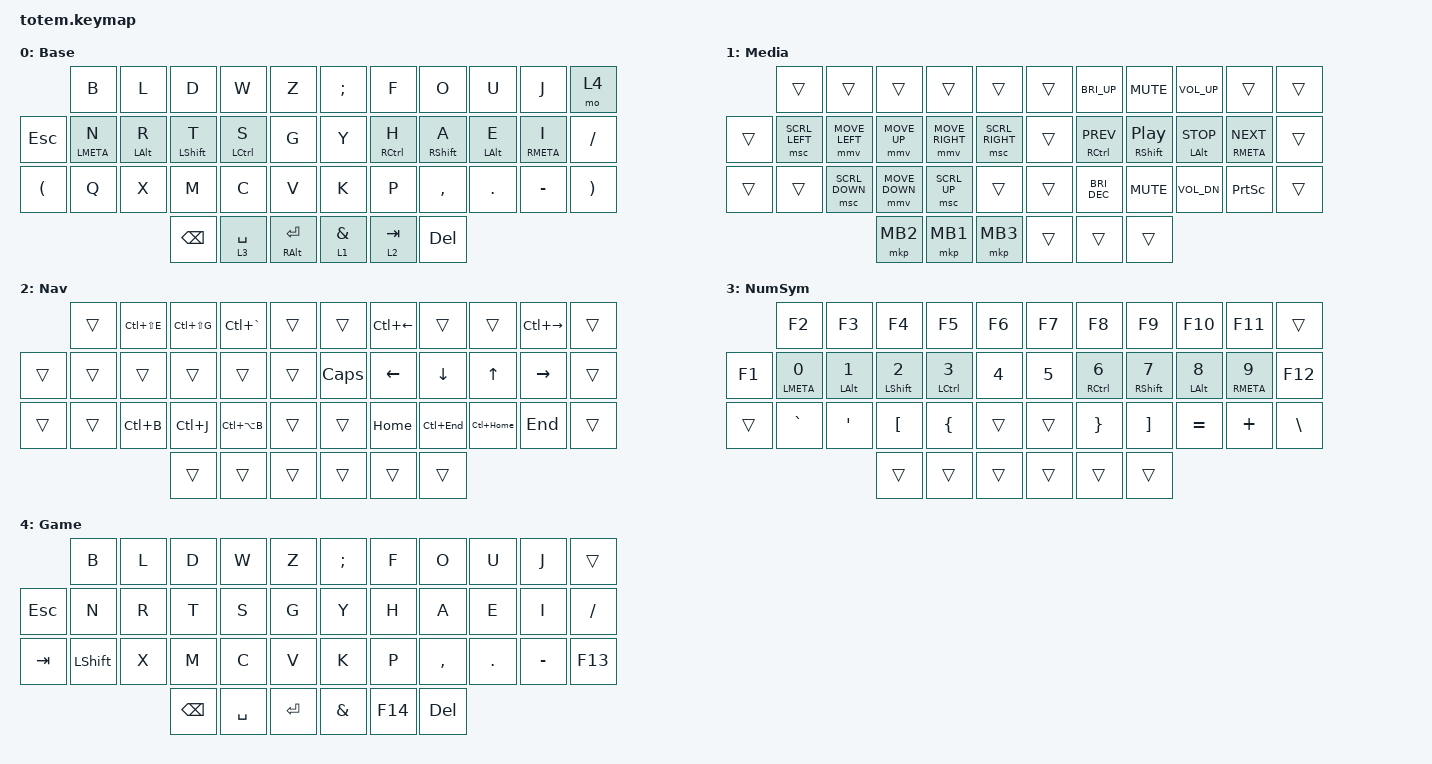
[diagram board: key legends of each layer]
//
//                                                        ▀▀▀▀▀     ▀▀▀▀▀          ▀▀█▀▀
//                                                        ▄▀▀▀▄  ▄  ▄▀▀▀▄  ▄  ▄▀▀▀▄  █  ▄▀▀▀▄
//                                                        █   █  █  █   █  █  █   █  █  █   █
//                                                         ▀▀▀   █   ▀▀▀   █   ▀▀▀   ▀   ▀▀▀
//                                                               █      ▄▄▄█▄▄▄    █   █
//                                                               ▀      █  █  █     █▄█
//                                                             ▀▀▀▀▀    █  █  █      ▀
//                                                                      ▀  ▀  ▀
//
// ▄▄▄▄▄▄▄▄▄▄▄▄▄▄▄▄▄▄▄▄▄▄▄▄▄▄▄▄▄▄▄▄▄▄▄▄▄▄▄▄▄▄▄▄▄▄▄▄▄▄▄▄▄▄▄▄▄▄▄▄▄▄▄▄▄▄▄▄▄▄▄▄▄▄▄▄▄▄▄▄▄▄▄▄▄▄▄▄▄▄▄▄▄▄▄▄▄▄▄▄▄▄▄▄▄▄▄▄▄▄▄▄▄▄▄▄▄▄▄▄▄▄▄▄▄▄▄▄▄▄▄▄▄▄▄▄▄▄▄▄▄▄▄▄▄▄▄▄▄
//
// This keymap is meant to be used with the EurKEY layout.

#include <dt-bindings/zmk/mouse.h>
#include <behaviors.dtsi>
#include <dt-bindings/zmk/keys.h>
#include <dt-bindings/zmk/pointing.h>

#define Base        0
#define Media       1
#define Nav         2
#define NumSym      3
#define Game        4

&mt {
    quick-tap-ms = <100>;
    global-quick-tap;
    flavor = "tap-preferred";
    tapping-term-ms = <170>;
};

&lt {
    tapping-term-ms = <240>;
    flavor = "balanced";
    quick-tap-ms = <150>;
};

/ {
    behaviors {
        hm: homerow_mods {
            compatible = "zmk,behavior-hold-tap";
            label = "HOMEROW_MODS";
            #binding-cells = <2>;
            flavor = "balanced";
            tapping-term-ms = <150>;
            global-quick-tap;
            bindings = <&kp>, <&kp>;
        };

        f1s: f1or11 {
            compatible = "zmk,behavior-mod-morph";
            label = "F1OR11";
            bindings = <&kp F1>, <&kp F11>;

            #binding-cells = <0>;
            mods = <(MOD_LSFT|MOD_RSFT)>;
        };

        f2s: f2_or_f12 {
            compatible = "zmk,behavior-mod-morph";
            label = "F2_OR_F12";
            bindings = <&kp F2>, <&kp F12>;

            #binding-cells = <0>;
            mods = <(MOD_LSFT|MOD_RSFT)>;
        };

        sqns: single_quote_no_shift {
            compatible = "zmk,behavior-mod-morph";
            label = "SINGLE_QUOTE_NO_SHIFT";
            bindings = <&kp SQT>, <&kp SQT>;

            #binding-cells = <0>;
            mods = <(MOD_LSFT|MOD_RSFT)>;
        };

        dqns: double_quote_no_shift {
            compatible = "zmk,behavior-mod-morph";
            label = "DOUBLE_QUOTE_NO_SHIFT";
            bindings = <&kp DQT>, <&kp DQT>;

            #binding-cells = <0>;
            mods = <(MOD_LSFT|MOD_RSFT)>;
        };

        eqns: equal_no_shift {
            compatible = "zmk,behavior-mod-morph";
            label = "EQUAL_NO_SHIFT";
            bindings = <&kp EQUAL>, <&kp EQUAL>;

            #binding-cells = <0>;
            mods = <(MOD_LSFT|MOD_RSFT)>;
        };

        df: double_function {
            compatible = "zmk,behavior-hold-tap";
            label = "DOUBLE_FUNCTION";
            bindings = <&kp>, <&kp>;

            #binding-cells = <2>;
            tapping-term-ms = <150>;
        };
    };

    combos {
        compatible = "zmk,combos";

        combo_capsword {
            bindings = <&caps_word>;
            key-positions = <12 21>;
            timeout-ms = <30>;
            require-prior-idle-ms = <50>;
            layers = <Base>;
        };

        combo_game_toggle {
            bindings = <&tog Game>;
            key-positions = <35 36 37>;
            timeout-ms = <30>;
        };
    };

    keymap {
        compatible = "zmk,keymap";

        Base {
            label = "Base";
            bindings = <
            &kp B        &kp L       &kp D          &kp W        &kp Z           &kp SEMI         &kp F        &kp O        &kp U       &kp J        &mo 4
&kp ESCAPE  &hm LMETA N  &hm LALT R  &hm LSHFT T    &hm LCTRL S  &kp G           &kp Y            &hm RCTRL H  &hm RSHFT A  &hm LALT E  &hm RMETA I  &kp SLASH
&kp LPAR    &kp Q        &kp X       &kp M          &kp C        &kp V           &kp K            &kp P        &kp COMMA    &kp DOT     &kp MINUS    &kp RPAR
                                     &kp BACKSPACE  &lt 3 SPACE  &hm RALT ENTER  &lt 1 AMPERSAND  &lt 2 TAB    &kp DELETE
            >;
        };

        Media { // TODO
            label = "Media";
            bindings = <
        &trans         &trans          &trans          &trans           &trans          &trans  &kp C_BRI_UP      &kp C_MUTE      &kp C_VOL_UP     &trans            &trans
&trans  &msc SCRL_LEFT &mmv MOVE_LEFT  &mmv MOVE_UP    &mmv MOVE_RIGHT  &msc SCRL_RIGHT &trans  &hm RCTRL C_PREV  &hm RSHFT C_PP  &hm LALT C_STOP  &hm RMETA C_NEXT  &trans
&trans  &trans         &msc SCRL_DOWN  &mmv MOVE_DOWN  &msc SCRL_UP     &trans          &trans  &kp C_BRI_DEC     &kp C_MUTE      &kp C_VOL_DN     &kp PSCRN         &trans
                                       &mkp MB2        &mkp MB1        &mkp MB3         &trans  &trans            &trans
            >;
        };

        Nav {
            label = "Nav";
            bindings = <
        &trans  &kp LC(LS(E))  &kp LC(LS(G))   &kp LC(GRAVE)   &trans    &trans    &kp LC(LEFT)  &trans       &trans        &kp LC(RIGHT)  &trans
&trans  &trans  &trans         &trans           &trans          &trans    &kp CAPS  &kp LEFT      &kp DOWN     &kp UP        &kp RIGHT      &trans
&trans  &trans  &kp LC(B)      &kp LC(J)        &kp LC(LA(B))   &trans    &trans    &kp HOME      &kp LC(END)  &kp LC(HOME)  &kp END        &trans
                               &trans           &trans          &trans    &trans    &trans        &trans
            >;
        };

        NumSym {
            label = "NumSym";
            bindings = <
        &kp F2        &kp F3       &kp F4        &kp F5          &kp F6  &kp F7  &kp F8        &kp F9        &kp F10      &kp F11       &trans
&kp F1  &hm LMETA N0  &hm LALT N1  &hm LSHFT N2  &hm LCTRL N3    &kp N4  &kp N5  &hm RCTRL N6  &hm RSHFT N7  &hm LALT N8  &hm RMETA N9  &kp F12
&trans  &kp GRAVE        &kp APOS  &kp LBKT      &kp LBRC        &trans  &trans  &kp RBRC      &kp RBKT      &kp EQUAL    &kp PLUS      &kp BSLH
                                   &trans        &trans          &trans  &trans  &trans        &trans
            >;
        };

        Game {
            label = "Game";
            bindings = <
            &kp B           &kp L  &kp D          &kp W      &kp Z      &kp SEMI       &kp F    &kp O      &kp U    &kp J      &trans
&kp ESCAPE  &kp N           &kp R  &kp T          &kp S      &kp G      &kp Y          &kp H    &kp A      &kp E    &kp I      &kp SLASH
&kp TAB     &kp LEFT_SHIFT  &kp X  &kp M          &kp C      &kp V      &kp K          &kp P    &kp COMMA  &kp DOT  &kp MINUS  &kp F13
                                   &kp BACKSPACE  &kp SPACE  &kp ENTER  &kp AMPERSAND  &kp F14  &kp DELETE
            >;
        };
    };
};
